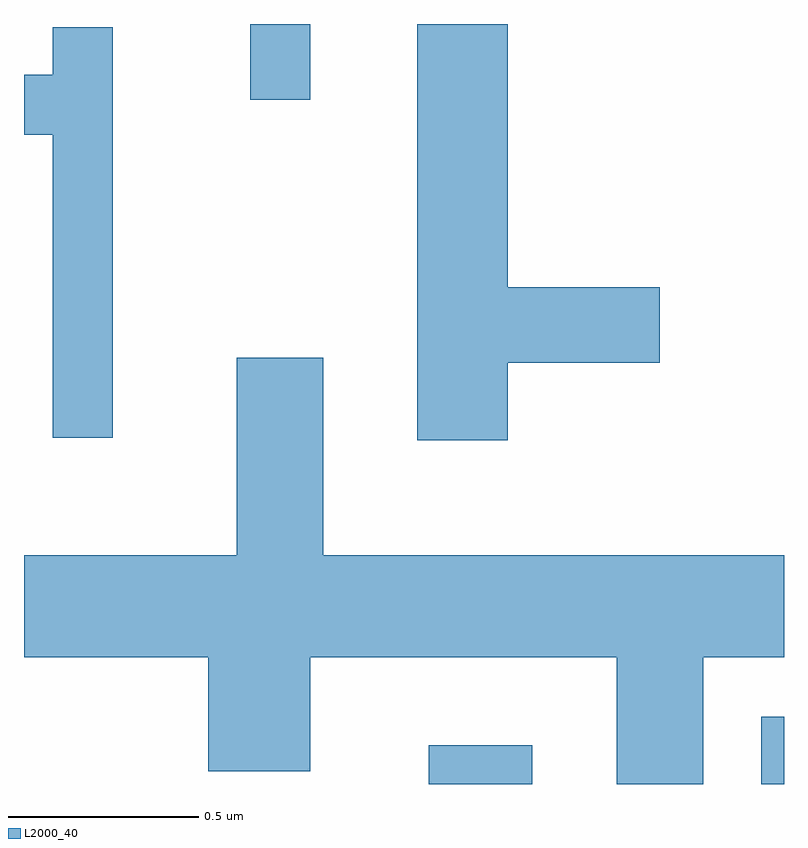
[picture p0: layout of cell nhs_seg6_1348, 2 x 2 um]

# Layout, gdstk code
import gdstk
lib = gdstk.Library(unit=1e-6, precision=1e-09)
def R(c, l, rs):  # rectangles x0, y0, x1, y1
    for r in rs: c.add(gdstk.rectangle(r[:2], r[2:], *l))
def P(c, l, *ps):  # polygons
    for p in ps: c.add(gdstk.Polygon(p, *l))
L2000_40 = (2000, 40)

nhs_seg6_1348 = lib.new_cell('nhs_seg6_1348')
R(nhs_seg6_1348, L2000_40, [(195.676,1645.162,195.948,1645.264), (196.551,1645.162,196.611,1645.339), (195.206,1646.963,195.364,1647.162)])
P(nhs_seg6_1348, L2000_40, [(195.884,1646.271),(196.284,1646.271),(196.284,1646.469),(195.884,1646.469),(195.884,1647.162),(195.646,1647.162),(195.646,1646.066),(195.884,1646.066)],
  [(194.844,1647.153),(194.686,1647.153),(194.686,1647.029),(194.611,1647.029),(194.611,1646.871),(194.686,1646.871),(194.686,1646.073),(194.844,1646.073)],
  [(196.399,1645.496),(196.611,1645.496),(196.611,1645.764),(195.399,1645.764),(195.399,1646.284),(195.171,1646.284),(195.171,1645.764),(194.611,1645.764),(194.611,1645.496),(195.096,1645.496),(195.096,1645.196),(195.364,1645.196),(195.364,1645.496),(196.171,1645.496),(196.171,1645.162),(196.399,1645.162)])

lib.write_gds('nhs_seg6_1348.gds')
